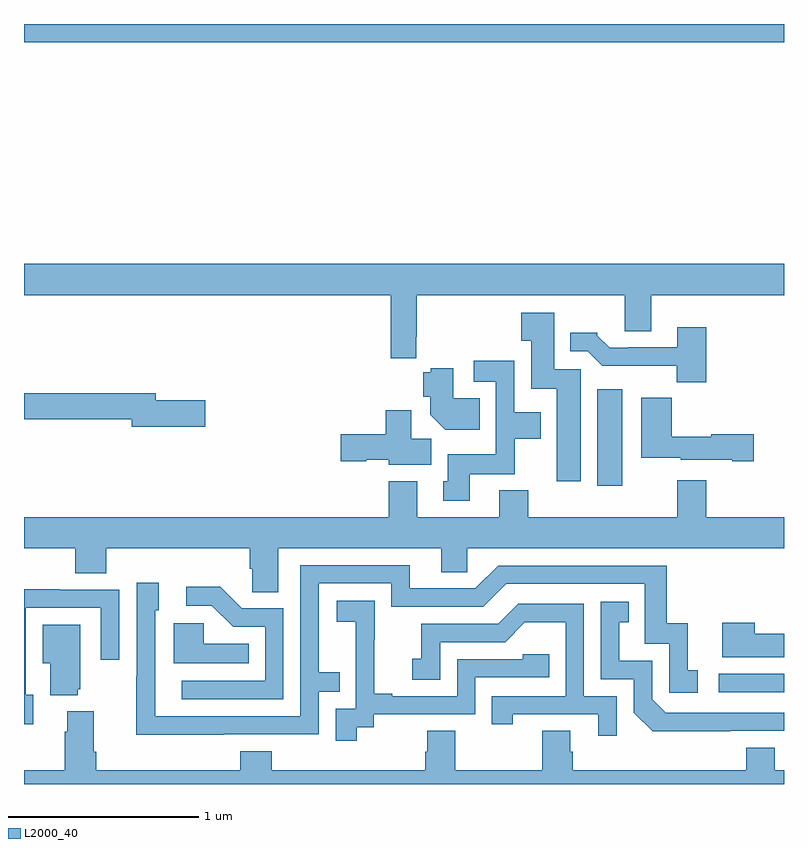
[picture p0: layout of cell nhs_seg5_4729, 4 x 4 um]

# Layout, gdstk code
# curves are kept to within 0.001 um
import gdstk
lib = gdstk.Library(unit=1e-6, precision=1e-09)
def R(c, l, rs):  # rectangles x0, y0, x1, y1
    for r in rs: c.add(gdstk.rectangle(r[:2], r[2:], *l))
def P(c, l, *ps):  # polygons
    for p in ps: c.add(gdstk.Polygon(p, *l))
L2000_40 = (2000, 40)

nhs_seg5_4729 = lib.new_cell('nhs_seg5_4729')
R(nhs_seg5_4729, L2000_40, [(390.657,909.282,391,909.378), (390.017,910.368,390.148,910.876), (387,912.704,391,912.799)])
P(nhs_seg5_4729, L2000_40, [(389.065,911.152),(389.066,911.152),(389.066,911.372),(390.161,911.372),(390.161,911.182),(390.301,911.182),(390.301,911.372),(391,911.372),(391,911.536),(387,911.536),(387,911.372),(388.93,911.372),(388.93,911.04),(389.065,911.04)],
  [(389.929,910.983),(389.791,910.983),(389.791,911.278),(389.618,911.278),(389.618,911.131),(389.669,911.131),(389.669,910.88),(389.804,910.88),(389.804,910.392),(389.929,910.392)],
  [(390.59,911.203),(390.437,911.203),(390.437,911.097),(390.181,911.097),(390.181,911.094),(390.082,911.094),(390.018,911.158),(390.018,911.173),(389.876,911.173),(389.876,911.076),(389.967,911.076),(390.043,911),(390.435,911),(390.435,910.913),(390.59,910.913)],
  [(389.347,910.43),(389.583,910.43),(389.583,910.616),(389.719,910.616),(389.719,910.756),(389.58,910.756),(389.58,911.026),(389.367,911.026),(389.367,910.917),(389.484,910.917),(389.484,910.534),(389.231,910.534),(389.231,910.392),(389.207,910.392),(389.207,910.29),(389.347,910.29)],
  [(389.399,910.828),(389.26,910.828),(389.26,910.986),(389.142,910.986),(389.142,910.966),(389.1,910.966),(389.1,910.838),(389.138,910.838),(389.138,910.742),(389.216,910.664),(389.399,910.664)],
  [(387.955,910.82),(387.694,910.82),(387.694,910.856),(387,910.856),(387,910.72),(387.566,910.72),(387.566,910.678),(387.955,910.678)],
  [(390.841,910.64),(390.618,910.64),(390.618,910.627),(390.41,910.627),(390.41,910.831),(390.248,910.831),(390.248,910.517),(390.456,910.517),(390.456,910.505),(390.728,910.505),(390.728,910.498),(390.841,910.498)],
  [(389.143,910.616),(389.038,910.616),(389.038,910.765),(388.904,910.765),(388.904,910.64),(388.668,910.64),(388.668,910.498),(388.8,910.498),(388.8,910.505),(388.92,910.505),(388.92,910.478),(389.143,910.478)],
  [(388.339,910.04),(389.195,910.04),(389.195,909.913),(389.334,909.913),(389.334,910.04),(391,910.04),(391,910.204),(390.59,910.204),(390.59,910.399),(390.437,910.399),(390.437,910.204),(389.654,910.204),(389.654,910.345),(389.501,910.345),(389.501,910.204),(389.071,910.204),(389.071,910.393),(388.919,910.393),(388.919,910.204),(387,910.204),(387,910.04),(387.269,910.04),(387.269,909.907),(387.434,909.907),(387.434,910.04),(388.187,910.04),(388.187,909.931),(388.2,909.931),(388.2,909.808),(388.339,909.808)],
  [(388.055,909.06),(388.551,909.06),(388.551,909.285),(388.661,909.285),(388.661,909.386),(388.551,909.386),(388.551,909.855),(388.932,909.855),(388.932,909.732),(389.418,909.732),(389.538,909.852),(390.267,909.852),(390.267,909.537),(390.396,909.537),(390.396,909.279),(390.547,909.279),(390.547,909.399),(390.494,909.399),(390.494,909.646),(390.383,909.646),(390.383,909.948),(389.496,909.948),(389.376,909.828),(389.029,909.828),(389.029,909.951),(388.455,909.951),(388.455,909.156),(387.691,909.156),(387.69,909.714),(387.709,909.714),(387.709,909.859),(387.594,909.859),(387.594,909.365),(387.592,909.365),(387.592,909.059)],
  [(388.365,909.723),(388.146,909.723),(388.033,909.836),(387.855,909.836),(387.855,909.738),(387.989,909.738),(388.1,909.627),(388.269,909.627),(388.269,909.342),(387.831,909.342),(387.831,909.246),(388.365,909.246)],
  [(387.049,909.27),(387.009,909.27),(387.009,909.726),(387.405,909.726),(387.405,909.453),(387.501,909.453),(387.501,909.822),(387.185,909.822),(387.185,909.824),(387,909.824),(387,909.114),(387.049,909.114)],
  [(388.75,909.097),(388.842,909.097),(388.842,909.165),(389.376,909.165),(389.376,909.36),(389.765,909.36),(389.765,909.483),(389.625,909.483),(389.625,909.456),(389.28,909.456),(389.28,909.261),(388.939,909.261),(388.939,909.274),(388.844,909.274),(388.844,909.557),(388.845,909.557),(388.845,909.763),(388.647,909.763),(388.647,909.653),(388.745,909.653),(388.745,909.425),(388.746,909.425),(388.746,909.195),(388.641,909.195),(388.641,909.027),(388.75,909.027)],
  [(390.716,909.078),(391,909.078),(391,909.174),(390.378,909.174),(390.306,909.246),(390.306,909.447),(390.133,909.447),(390.133,909.651),(390.182,909.651),(390.182,909.757),(390.036,909.757),(390.036,909.351),(390.21,909.351),(390.21,909.174),(390.308,909.077)],
  [(390.12,909.261),(389.946,909.261),(389.946,909.747),(389.6,909.747),(389.495,909.642),(389.092,909.642),(389.092,909.457),(389.043,909.457),(389.043,909.348),(389.19,909.348),(389.19,909.546),(389.532,909.546),(389.636,909.65),(389.85,909.65),(389.85,909.261),(389.461,909.261),(389.461,909.114),(389.572,909.114),(389.572,909.165),(390.023,909.165),(390.023,909.054),(390.12,909.054)],
  [(391,909.589),(390.845,909.589),(390.845,909.649),(390.674,909.649),(390.674,909.467),(391,909.467)],
  [(388.184,909.538),(387.945,909.538),(387.945,909.646),(387.788,909.646),(387.788,909.434),(388.184,909.434)],
  [(387.284,909.297),(387.295,909.297),(387.295,909.637),(387.098,909.637),(387.098,909.434),(387.137,909.434),(387.137,909.266),(387.284,909.266)],
  [(391,908.872),(390.952,908.872),(390.952,908.989),(390.8,908.989),(390.8,908.872),(389.888,908.872),(389.888,908.97),(389.875,908.97),(389.875,909.08),(389.728,909.08),(389.728,908.872),(389.271,908.872),(389.271,909.08),(389.123,909.08),(389.123,908.97),(389.111,908.97),(389.111,908.872),(388.304,908.872),(388.304,908.971),(388.139,908.971),(388.139,908.872),(387.38,908.872),(387.38,908.968),(387.367,908.968),(387.367,909.181),(387.227,909.181),(387.227,909.074),(387.215,909.074),(387.215,908.872),(387,908.872),(387,908.799),(391,908.799)])

lib.write_gds('nhs_seg5_4729.gds')
